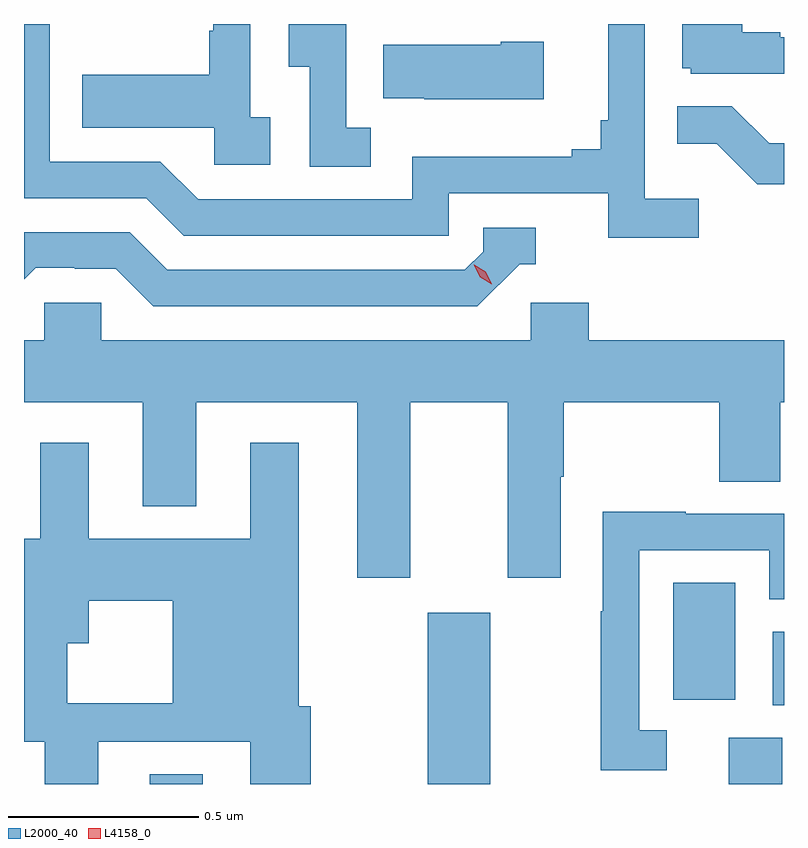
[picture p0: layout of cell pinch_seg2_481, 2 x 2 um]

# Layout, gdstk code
import gdstk
lib = gdstk.Library(unit=1e-6, precision=1e-09)
def R(c, l, rs):  # rectangles x0, y0, x1, y1
    for r in rs: c.add(gdstk.rectangle(r[:2], r[2:], *l))
def P(c, l, *ps):  # polygons
    for p in ps: c.add(gdstk.Polygon(p, *l))
L2000_40 = (2000, 40)
L4158_0 = (4158, 0)

pinch_seg2_481 = lib.new_cell('pinch_seg2_481')
R(pinch_seg2_481, L2000_40, [(950.933,598.68,951.073,598.706), (951.665,598.68,951.829,599.131), (952.457,598.68,952.597,598.802), (952.572,598.887,952.602,599.081), (952.31,598.902,952.474,599.209)])
P(pinch_seg2_481, L2000_40, [(952.602,600.645),(952.592,600.645),(952.592,600.658),(952.492,600.658),(952.492,600.68),(952.334,600.68),(952.334,600.564),(952.356,600.564),(952.356,600.549),(952.602,600.549)],
  [(951.514,600.407),(951.45,600.407),(951.45,600.68),(951.299,600.68),(951.299,600.568),(951.354,600.568),(951.354,600.304),(951.514,600.304)],
  [(951.25,600.434),(951.198,600.434),(951.198,600.68),(951.1,600.68),(951.1,600.662),(951.09,600.662),(951.09,600.547),(950.755,600.547),(950.755,600.407),(951.102,600.407),(951.102,600.309),(951.25,600.309)],
  [(952.378,600.22),(952.236,600.22),(952.236,600.68),(952.139,600.68),(952.139,600.427),(952.12,600.427),(952.12,600.35),(952.043,600.35),(952.043,600.331),(951.624,600.331),(951.624,600.219),(951.06,600.219),(950.961,600.318),(950.67,600.318),(950.67,600.68),(950.602,600.68),(950.602,600.222),(950.924,600.222),(951.023,600.123),(951.72,600.123),(951.72,600.234),(952.139,600.234),(952.139,600.118),(952.378,600.118)],
  [(951.97,600.633),(951.857,600.633),(951.857,600.625),(951.547,600.625),(951.547,600.485),(951.655,600.485),(951.655,600.482),(951.97,600.482)],
  [(952.602,600.366),(952.563,600.366),(952.465,600.464),(952.321,600.464),(952.321,600.365),(952.425,600.365),(952.532,600.258),(952.602,600.258)],
  [(951.906,600.048),(951.949,600.048),(951.949,600.144),(951.81,600.144),(951.81,600.081),(951.762,600.033),(950.979,600.033),(950.88,600.132),(950.602,600.132),(950.602,600.008),(950.633,600.039),(950.736,600.039),(950.736,600.036),(950.843,600.036),(950.942,599.937),(951.795,599.937)],
  [(951.619,599.684),(951.875,599.684),(951.875,599.223),(952.015,599.223),(952.015,599.488),(952.023,599.488),(952.023,599.684),(952.432,599.684),(952.432,599.476),(952.592,599.476),(952.592,599.684),(952.602,599.684),(952.602,599.848),(952.088,599.848),(952.088,599.946),(951.936,599.946),(951.936,599.848),(950.805,599.848),(950.805,599.946),(950.655,599.946),(950.655,599.848),(950.602,599.848),(950.602,599.684),(950.915,599.684),(950.915,599.411),(951.055,599.411),(951.055,599.684),(951.479,599.684),(951.479,599.223),(951.619,599.223)],
  [(950.657,598.791),(950.657,598.68),(950.797,598.68),(950.797,598.791),(951.197,598.791),(951.197,598.68),(951.357,598.68),(951.357,598.884),(951.325,598.884),(951.325,599.578),(951.197,599.578),(951.197,599.326),(950.773,599.326),(950.773,599.578),(950.645,599.578),(950.645,599.326),(950.602,599.326),(950.602,598.892),(950.716,598.892),(950.716,599.051),(950.773,599.051),(950.773,599.162),(950.993,599.162),(950.993,598.892),(950.716,598.892),(950.602,598.892),(950.602,598.791)],
  [(952.294,598.821),(952.221,598.821),(952.221,599.295),(952.563,599.295),(952.563,599.166),(952.602,599.166),(952.602,599.391),(952.343,599.391),(952.343,599.396),(952.125,599.396),(952.125,599.135),(952.12,599.135),(952.12,598.716),(952.294,598.716)])
P(pinch_seg2_481, L4158_0, [(951.833,599.995),(951.802,600.014),(951.786,600.047),(951.786,600.047),(951.787,600.047),(951.817,600.028),(951.833,599.995),(951.833,599.995)])

lib.write_gds('pinch_seg2_481.gds')
